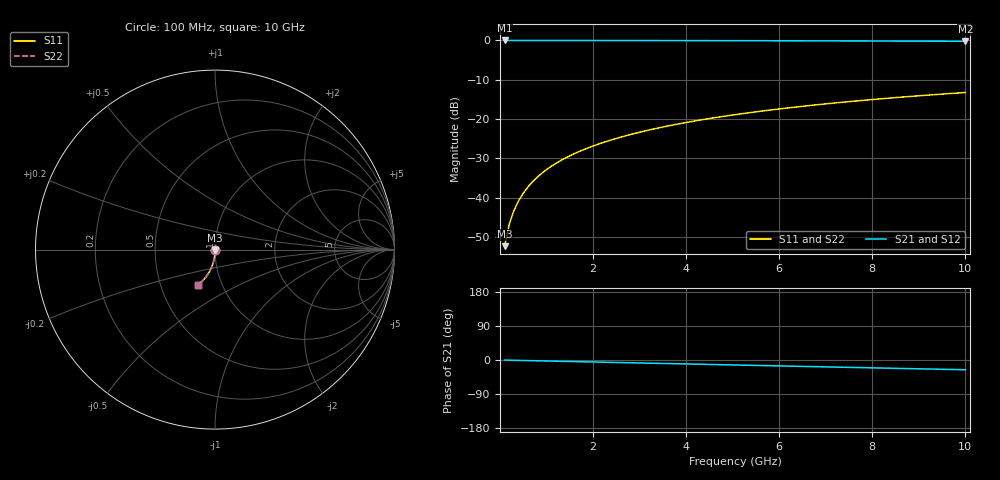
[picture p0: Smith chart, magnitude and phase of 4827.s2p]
# Hz S RI R 50.00
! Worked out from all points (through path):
!   100 points, 100 MHz to 10 GHz, reference 50 ohm
!   highest |S21| = -0.01 dB at 100 MHz (marker M1); lowest = -0.2 dB at 10 GHz (marker M2)
!   group delay of S21, straight-line fit = 7.17 ps
!   lowest |S11| = -52.3 dB at 100 MHz (marker M3), VSWR 1.00, Z = 50.1 - j0.228 ohm
!   |S11| at or under -10 dB: start of sweep to end of sweep
!   |S22| runs from -52.3 to -13.2 dB; largest |S21 - S12| = 0
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1e8  0.000827 -0.00228  0.9991 -0.00454  0.9991 -0.00454  0.000827 -0.00228
2e8  0.000799 -0.00456  0.9991 -0.00909  0.9991 -0.00909  0.000799 -0.00456
3e8  0.000748 -0.00684  0.999 -0.0136  0.999 -0.0136  0.000748 -0.00684
4e8  0.000675 -0.00912  0.9989 -0.0182  0.9989 -0.0182  0.000675 -0.00912
5e8  0.000582 -0.0114  0.9988 -0.0227  0.9988 -0.0227  0.000582 -0.0114
6e8  0.000467 -0.0137  0.9987 -0.0273  0.9987 -0.0273  0.000467 -0.0137
7e8  0.000331 -0.016  0.9985 -0.0318  0.9985 -0.0318  0.000331 -0.016
8e8  0.000175 -0.0182  0.9983 -0.0363  0.9983 -0.0363  0.000175 -0.0182
9e8  -2.26e-06 -0.0205  0.9981 -0.0409  0.9981 -0.0409  -2.26e-06 -0.0205
1.1e9  -0.000419 -0.025  0.9975 -0.05  0.9975 -0.05  -0.000419 -0.025
1.4e9  -0.0012 -0.0318  0.9965 -0.0635  0.9965 -0.0635  -0.0012 -0.0318
1.8e9  -0.00253 -0.0409  0.9949 -0.0816  0.9949 -0.0816  -0.00253 -0.0409
2.1e9  -0.00374 -0.0476  0.9934 -0.0952  0.9934 -0.0952  -0.00374 -0.0476
2.5e9  -0.00564 -0.0565  0.991 -0.1131  0.991 -0.1131  -0.00564 -0.0565
2.9e9  -0.00786 -0.0654  0.9882 -0.131  0.9882 -0.131  -0.00786 -0.0654
3.4e9  -0.0111 -0.0763  0.9841 -0.1533  0.9841 -0.1533  -0.0111 -0.0763
4.2e9  -0.0172 -0.0934  0.9764 -0.1886  0.9764 -0.1886  -0.0172 -0.0934
5.1e9  -0.0256 -0.112  0.9658 -0.2276  0.9658 -0.2276  -0.0256 -0.112
5.9e9  -0.0343 -0.1279  0.9548 -0.2617  0.9548 -0.2617  -0.0343 -0.1279
6.7e9  -0.044 -0.1431  0.9424 -0.2951  0.9424 -0.2951  -0.044 -0.1431
8.4e9  -0.068 -0.1726  0.9116 -0.3634  0.9116 -0.3634  -0.068 -0.1726
1e10  -0.0942 -0.1965  0.8776 -0.4239  0.8776 -0.4239  -0.0942 -0.1965
